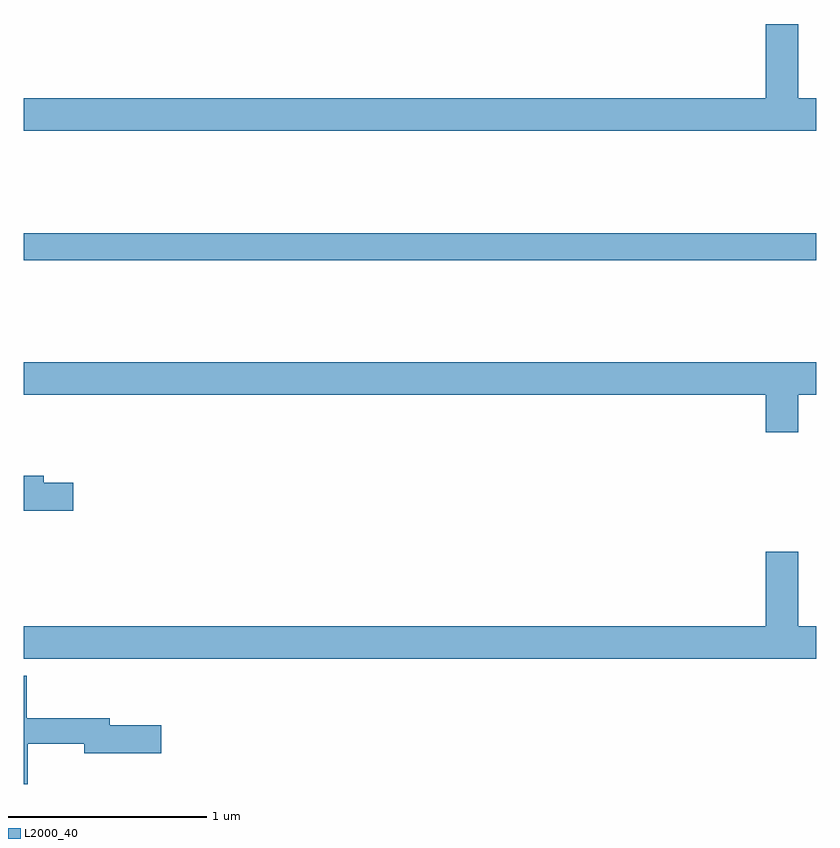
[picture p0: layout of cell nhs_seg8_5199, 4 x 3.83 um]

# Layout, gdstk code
import gdstk
lib = gdstk.Library(unit=1e-6, precision=1e-09)
def R(c, l, rs):  # rectangles x0, y0, x1, y1
    for r in rs: c.add(gdstk.rectangle(r[:2], r[2:], *l))
def P(c, l, *ps):  # polygons
    for p in ps: c.add(gdstk.Polygon(p, *l))
L2000_40 = (2000, 40)

nhs_seg8_5199 = lib.new_cell('nhs_seg8_5199')
R(nhs_seg8_5199, L2000_40, [(425,1086.544,429,1086.68)])
P(nhs_seg8_5199, L2000_40, [(429,1087.36),(428.908,1087.36),(428.908,1087.735),(428.744,1087.735),(428.744,1087.36),(425,1087.36),(425,1087.196),(429,1087.196)],
  [(428.908,1085.864),(429,1085.864),(429,1086.028),(425,1086.028),(425,1085.864),(428.744,1085.864),(428.744,1085.676),(428.908,1085.676)],
  [(425.251,1085.421),(425.101,1085.421),(425.101,1085.455),(425,1085.455),(425,1085.279),(425.251,1085.279)],
  [(429,1084.696),(428.908,1084.696),(428.908,1085.071),(428.744,1085.071),(428.744,1084.696),(425,1084.696),(425,1084.532),(429,1084.532)],
  [(425.021,1084.102),(425.306,1084.102),(425.306,1084.055),(425.695,1084.055),(425.695,1084.197),(425.434,1084.197),(425.434,1084.231),(425.015,1084.231),(425.015,1084.447),(425,1084.447),(425,1083.9),(425.021,1083.9)])

lib.write_gds('nhs_seg8_5199.gds')
